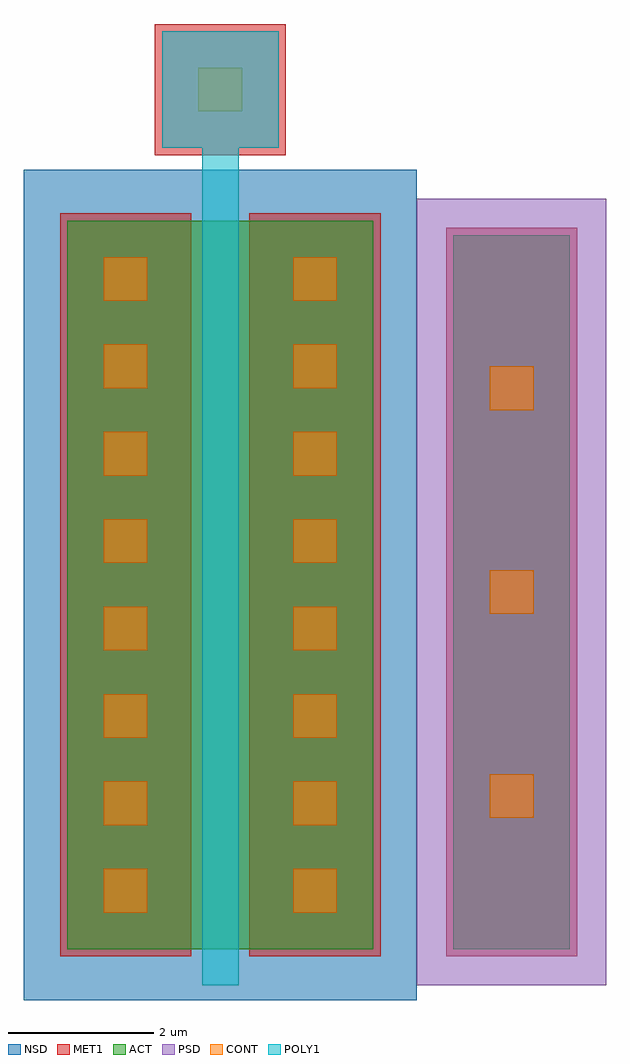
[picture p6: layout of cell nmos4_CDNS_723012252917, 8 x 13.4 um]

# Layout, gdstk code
import gdstk
lib = gdstk.Library(unit=1e-6, precision=1e-09)
def R(c, l, rs):  # rectangles x0, y0, x1, y1
    for r in rs: c.add(gdstk.rectangle(r[:2], r[2:], *l))
def A(c, l, x, y, w, h, nx, ny, dx, dy):  # array of equal rectangles
    R(c, l, [(x+i*dx, y+j*dy, x+i*dx+w, y+j*dy+h) for i in range(nx) for j in range(ny)])
ACT = (11, 0)
POLY1 = (12, 0)
NSD = (14, 0)
PSD = (15, 0)
CONT = (31, 0)
MET1 = (32, 0)

poly1cont_cdns_723012252 = lib.new_cell('poly1cont_CDNS_723012252918')
R(poly1cont_cdns_723012252, POLY1, [(0.1,0.1,1.7,1.7)])
R(poly1cont_cdns_723012252, CONT, [(0.6,0.6,1.2,1.2)])
R(poly1cont_cdns_723012252, MET1, [(0,0,1.8,1.8)])

ptap_cdns_723012252919 = lib.new_cell('ptap_CDNS_723012252919')
R(ptap_cdns_723012252919, ACT, [(0.5,0.5,2.1,10.3)])
R(ptap_cdns_723012252919, PSD, [(0,0,2.6,10.8)])
A(ptap_cdns_723012252919, CONT, 1, 2.3, 0.6, 0.6, 1, 3, 0, 2.8)
R(ptap_cdns_723012252919, MET1, [(0.4,0.4,2.2,10.4)])

nmos4_cdns_723012252917 = lib.new_cell('nmos4_CDNS_723012252917')
R(nmos4_cdns_723012252917, ACT, [(0.6,0.7,4.8,10.7)])
R(nmos4_cdns_723012252917, POLY1, [(2.45,0.2,2.95,11.2), (2.45,11.2,2.95,11.7)])
R(nmos4_cdns_723012252917, NSD, [(0,0,5.4,11.4)])
A(nmos4_cdns_723012252917, CONT, 3.7, 1.2, 0.6, 0.6, 1, 8, 0, 1.2)
R(nmos4_cdns_723012252917, CONT, [(1.1,1.2,1.7,1.8), (1.1,1.2,1.7,1.8), (1.1,2.4,1.7,3), (1.1,2.4,1.7,3), (1.1,3.6,1.7,4.2), (1.1,3.6,1.7,4.2), (1.1,4.8,1.7,5.4), (1.1,4.8,1.7,5.4), (1.1,6,1.7,6.6), (1.1,6,1.7,6.6), (1.1,7.2,1.7,7.8), (1.1,7.2,1.7,7.8), (1.1,8.4,1.7,9), (1.1,8.4,1.7,9), (1.1,9.6,1.7,10.2), (1.1,9.6,1.7,10.2)])
R(nmos4_cdns_723012252917, MET1, [(0.5,0.6,2.3,10.8), (3.1,0.6,4.9,10.8)])
nmos4_cdns_723012252917.add(gdstk.Reference(poly1cont_cdns_723012252, (1.8,11.6)))
nmos4_cdns_723012252917.add(gdstk.Reference(ptap_cdns_723012252919, (5.4,0.2)))

lib.write_gds('nmos4_CDNS_723012252917.gds')
